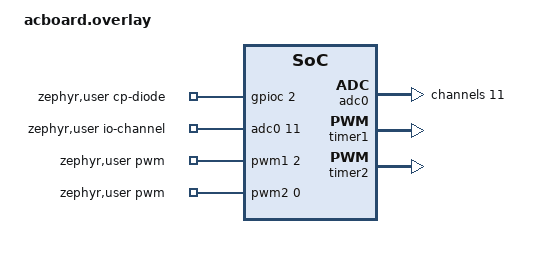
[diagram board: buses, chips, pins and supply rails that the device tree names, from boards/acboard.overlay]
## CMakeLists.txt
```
# SPDX-License-Identifier: Apache-2.0

cmake_minimum_required(VERSION 3.20.0)

find_package(Zephyr REQUIRED HINTS $ENV{ZEPHYR_BASE})
project(acboard_cp_test)

target_sources(app PRIVATE src/main.c)
```

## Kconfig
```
# Copyright (c) 2026
# SPDX-License-Identifier: Apache-2.0

mainmenu "ACBoard CP test"

source "Kconfig.zephyr"
```

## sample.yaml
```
sample:
  name: ACBoard control pilot test
common:
  platform_allow:
    - acboard_f527
  tags:
    - adc
    - pwm
    - control-pilot
tests:
  sample.boards.acboard.cp_test:
    build_only: true
```

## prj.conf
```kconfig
CONFIG_ADC=y
CONFIG_PWM=y
CONFIG_PWM_CAPTURE=y
CONFIG_GPIO=y

CONFIG_MAIN_STACK_SIZE=1024
CONFIG_HEAP_MEM_POOL_SIZE=0
CONFIG_PRINTK=y
CONFIG_LOG=y

# Keep this hardware test independent from modem and external storage support.
CONFIG_SPI=n
CONFIG_SPI_GD32=n
CONFIG_SPI_NOR=n
CONFIG_FLASH=n
CONFIG_FLASH_MAP=n
CONFIG_FILE_SYSTEM=n
CONFIG_FILE_SYSTEM_LITTLEFS=n
```

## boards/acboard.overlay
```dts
#include <zephyr/dt-bindings/adc/adc.h>
#include <zephyr/dt-bindings/adc/gd32e50x.h>
#include <zephyr/dt-bindings/gpio/gpio.h>
#include <zephyr/dt-bindings/pwm/pwm.h>

/ {
	zephyr,user {
		io-channels = <&adc0 11>;
		pwms = <&pwm1 2 PWM_USEC(1000) PWM_POLARITY_NORMAL>,
		       <&pwm2 0 PWM_USEC(1000) PWM_POLARITY_NORMAL>;
		cp-diode-gpios = <&gpioc 2 GPIO_ACTIVE_HIGH>;
	};
};

&adc0 {
	status = "okay";
	pinctrl-0 = <&adc0_cp_default>;
	pinctrl-names = "default";
	gd,clock-prescaler = <6>;
	gd,external-trigger-source = <GD32E50X_ADC_TRIGGER_TIMER1_CH1>;
	gd,external-trigger-timeout-us = <5000>;
	#address-cells = <1>;
	#size-cells = <0>;

	channel@b {
		reg = <11>;
		zephyr,gain = "ADC_GAIN_1";
		zephyr,reference = "ADC_REF_INTERNAL";
		zephyr,acquisition-time = <ADC_ACQ_TIME_DEFAULT>;
		zephyr,resolution = <12>;
	};
};

&timer1 {
	status = "okay";
	prescaler = <179>;

	pwm1: pwm {
		status = "okay";
		pinctrl-0 = <&cp_pwm_default>;
		pinctrl-names = "default";
		gd,auxiliary-source-channel = <2>;
		gd,auxiliary-channel = <1>;
		gd,auxiliary-pulse-ratio = <1 2>;
	};
};

&timer2 {
	status = "okay";
	prescaler = <179>;

	pwm2: pwm {
		status = "okay";
		pinctrl-0 = <&cp_pwm_feedback_default>;
		pinctrl-names = "default";
	};
};
```

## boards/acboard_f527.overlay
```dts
/*
 * Copyright (c) 2026
 * SPDX-License-Identifier: Apache-2.0
 */

#include <zephyr/dt-bindings/adc/adc.h>
#include <zephyr/dt-bindings/adc/gd32f5xx.h>
#include <zephyr/dt-bindings/gpio/gpio.h>
#include <zephyr/dt-bindings/pwm/pwm.h>

/ {
	cp: control-pilot {
		compatible = "zephyr,control-pilot";
		pwms = <&pwm1 2 PWM_USEC(1000) PWM_POLARITY_NORMAL>,
		       <&pwm2 0 PWM_USEC(1000) PWM_POLARITY_NORMAL>;
		pwm-names = "cp", "feedback";
		io-channels = <&adc0 11>;
		diode-gpios = <&gpioc 2 GPIO_ACTIVE_HIGH>;
		adc-reference-millivolt = <3300>;
		/* CP-to-sense upper resistor, then sense-to-ground lower resistor. */
		sense-divider-resistors-ohms = <430000 150000>;
	};
};

&adc0 {
	status = "okay";
	pinctrl-0 = <&adc0_cp_default>;
	pinctrl-names = "default";
	gd,clock-prescaler = <4>;
	gd,external-trigger-source = <GD32F5XX_ADC_TRIGGER_TIMER1_CH1>;
	gd,external-trigger-timeout-us = <5000>;
	#address-cells = <1>;
	#size-cells = <0>;

	channel@b {
		reg = <11>;
		zephyr,gain = "ADC_GAIN_1";
		zephyr,reference = "ADC_REF_INTERNAL";
		zephyr,acquisition-time = <ADC_ACQ_TIME_DEFAULT>;
		zephyr,resolution = <12>;
	};
};

&timer1 {
	status = "okay";
	prescaler = <99>;

	pwm1: pwm {
		status = "okay";
		pinctrl-0 = <&cp_pwm_default>;
		pinctrl-names = "default";
		gd,auxiliary-source-channel = <2>;
		gd,auxiliary-channel = <1>;
		gd,auxiliary-pulse-ratio = <1 2>;
	};
};

&timer2 {
	status = "okay";
	prescaler = <99>;

	pwm2: pwm {
		status = "okay";
		pinctrl-0 = <&cp_pwm_feedback_default>;
		pinctrl-names = "default";
	};
};
```

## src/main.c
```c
/*
 * Copyright (c) 2026
 * SPDX-License-Identifier: Apache-2.0
 */

#include <stdint.h>

#include <zephyr/device.h>
#include <zephyr/drivers/uart.h>
#include <zephyr/kernel.h>
#include <zephyr/sys/printk.h>
#include <zephyr/sys/util.h>

#include <zephyr/drivers/misc/control_pilot/control_pilot.h>

#define CP_REPORT_INTERVAL K_MSEC(500)

static const struct device *const cp = DEVICE_DT_GET_ONE(zephyr_control_pilot);
static const struct device *const console = DEVICE_DT_GET(DT_CHOSEN(zephyr_console));
static uint16_t commanded_duty = 1000U;

static const char *state_str(enum cp_state state)
{
	switch (state) {
	case CP_STATE_0:
		return "0";
	case CP_STATE_1:
		return "1";
	case CP_STATE_1_PRIME:
		return "1'";
	case CP_STATE_2:
		return "2";
	case CP_STATE_2_PRIME:
		return "2'";
	case CP_STATE_3:
		return "3";
	case CP_STATE_3_PRIME:
		return "3'";
	case CP_STATE_4:
		return "4";
	case CP_STATE_INVALID:
		return "invalid";
	case CP_STATE_UNKNOWN:
	default:
		return "?";
	}
}

static void print_help(void)
{
	printk("Commands: 0=state4, 1=100%%, 2=53%%, 3=10%%, +=+1%%, -=-1%%, h=help\n");
}

static void handle_console(void)
{
	unsigned char ch;
	uint16_t duty = commanded_duty;
	int ret;

	if (uart_poll_in(console, &ch) != 0) {
		return;
	}

	switch (ch) {
	case '0':
		duty = 0U;
		break;
	case '1':
		duty = 1000U;
		break;
	case '2':
		duty = 530U;
		break;
	case '3':
		duty = 100U;
		break;
	case '+':
		duty = MIN((uint16_t)(duty + 10U), 1000U);
		break;
	case '-':
		duty = duty >= 10U ? duty - 10U : 0U;
		break;
	case 'h':
	case '?':
		print_help();
		return;
	default:
		return;
	}

	ret = cp_set_duty(cp, duty);
	if (ret < 0) {
		printk("CP set duty failed: %d\n", ret);
	} else {
		commanded_duty = duty;
		printk("CP duty=%u.%u%%\n", duty / 10U, duty % 10U);
	}
}

int main(void)
{
	struct cp_status status;
	int ret;

	printk("\nACBoard control-pilot test\n");

	if (!device_is_ready(cp) || !device_is_ready(console)) {
		printk("CP device not ready\n");
		return 0;
	}

	print_help();

	while (true) {
		handle_console();

		ret = cp_read(cp, &status);
		if (ret < 0) {
			printk("CP set=%u.%u%% read failed: %d\n", commanded_duty / 10U,
			       commanded_duty % 10U, ret);
			k_sleep(CP_REPORT_INTERVAL);
			continue;
		}

		printk("CP set=%u.%u%% state=%s voltage=%d mV diode=%d",
		       status.duty_permille / 10U, status.duty_permille % 10U,
		       state_str(status.state), status.voltage_mv, status.diode_present);
		if (status.feedback_valid) {
			printk(" pwm_feedback=%uHz/%u.%u%%", status.feedback_hz,
			       status.feedback_permille / 10U, status.feedback_permille % 10U);
		}
		printk("\n");

		k_sleep(CP_REPORT_INTERVAL);
	}

	return 0;
}
```
